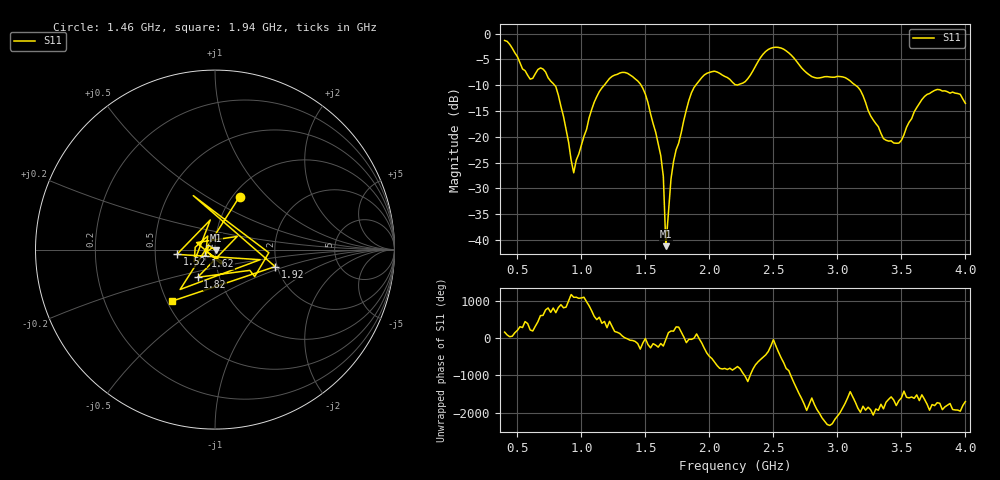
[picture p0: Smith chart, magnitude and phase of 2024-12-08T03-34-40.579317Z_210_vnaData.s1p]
!Created with skrf (http://scikit-rf.org).
# Hz S RI R 50.0
!freq ReS11 ImS11
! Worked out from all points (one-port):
!   181 points, 400 MHz to 4 GHz, reference 50 ohm
!   lowest |S11| = -41.2 dB at 1.66 GHz (marker M1), VSWR 1.02, Z = 50.7 - j0.501 ohm
!   |S11| at or under -10 dB: 790.6 MHz to 1.179 GHz (388.1 MHz wide, 39.4 % of centre); 1.466 GHz to 1.893 GHz (427.5 MHz wide, 25.5 % of centre); 3.141 GHz to end of sweep
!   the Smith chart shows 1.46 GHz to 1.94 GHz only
!   S11 on the Smith chart (normalised r, x): 1.46 GHz: 1.07, +0.71; 1.52 GHz: 0.65, -0.04; 1.62 GHz: 0.90, -0.07; 1.82 GHz: 0.79, -0.25; 1.92 GHz: 1.95, -0.42; 1.94 GHz: 0.53, -0.35
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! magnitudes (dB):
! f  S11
! 400 MHz  -1.3
! 600 MHz  -8.8
! 720 MHz  -7.4
! 800 MHz  -10.3
! 860 MHz  -16.0
! 940 MHz  -27.0
! 1.12 GHz  -12.2
! 1.3 GHz  -7.6
! 1.46 GHz  -9.8
! 1.52 GHz  -13.4
! 1.62 GHz  -23.7
! 1.64 GHz  -27.7
! 1.66 GHz  -41.2
! 1.7 GHz  -28.2
! 1.76 GHz  -21.2
! 1.82 GHz  -14.8
! 1.92 GHz  -9.2
! 1.94 GHz  -8.5
! 2.2 GHz  -9.9
! 2.48 GHz  -2.8
! 2.66 GHz  -4.7
! 2.8 GHz  -8.3
! 3.1 GHz  -9.2
! 3.36 GHz  -20.4
! 3.48 GHz  -21.2
! 3.56 GHz  -17.2
! 3.78 GHz  -10.8
! 4 GHz  -13.5
